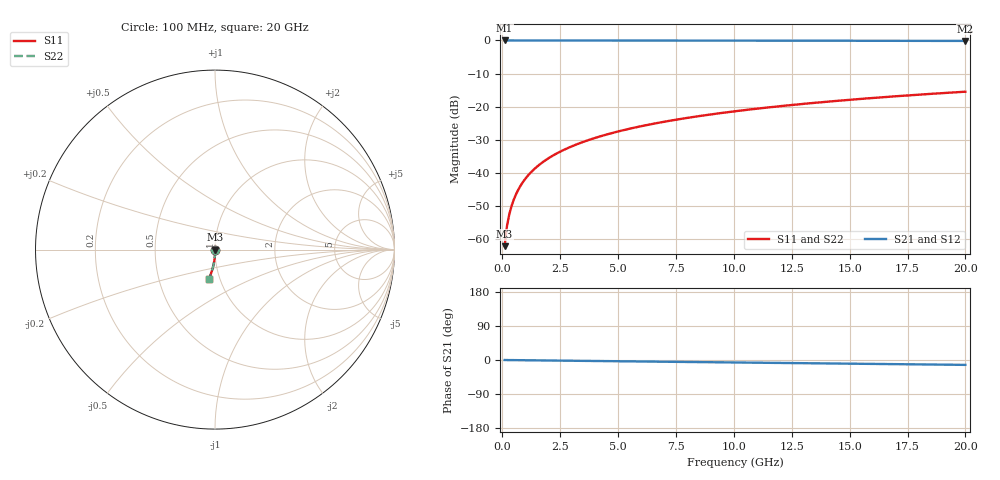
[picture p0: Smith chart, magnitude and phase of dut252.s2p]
! Touchstone file exported from HFSS 2026.1.0
!  File:  C:/ffzhzh/LocalFiles/Ansys_Project_Files/temp_train_TSV_252_1782992880_41620.aedt
!  Generated:  07:49:23 PM Jul  2, 2026
!  Design:  TSV
!  Project:  temp_train_TSV_252_1782992880_41620
! Variables:
!  h_bsmrdl = 2um
!  h_ox = 20um
!  h_rdl = 5um
!  h_sub = 91.99um
!  h_tmrdl = 5um
!  h_tsv = 91.99um
!  h_via = 3um
!  l_bsmrdl = 300um
!  l_sub = 421.72um
!  l_tmrdl = 200um
!  m_sub = 200um
!  pitch = 24.23um
!  r_tsv = 10.86um
!  s_tmrdl = 10um
!  w_bsmrdl = 18um
!  w_sub = 500um
!  w_tmrdl = 12um
!  x_tsv_center1 = 206um
!  x_tsv_center2 = 524um
!  x_tsv_center3 = 736um
!  x_tsv_center4 = 1054um
!  x_tsv_center5 = 1266um
!  x_tsv_center6 = 1584um
# GHz S MA R 50.000000
! Terminal data exported
! Port[1] = TSV1_1_T1
! Port[2] = TSV1_1_T2
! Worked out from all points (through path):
!   200 points, 100 MHz to 20 GHz, reference 50 ohm
!   highest |S21| = 0.00 dB at 100 MHz (marker M1); lowest = -0.1 dB at 20 GHz (marker M2)
!   group delay of S21, straight-line fit = 1.79 ps
!   lowest |S11| = -62.1 dB at 100 MHz (marker M3), VSWR 1.00, Z = 50 - j0.0774 ohm
!   |S11| at or under -10 dB: start of sweep to end of sweep
!   |S22| runs from -62.1 to -15.5 dB; largest |S21 - S12| = 2.1e-15
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0.1  0.000789 -78.9  0.9998 -0.1  0.9998 -0.1  0.000789 -78.9
! Gamma 0 0 0 0
! Port Impedance 50 0 50 0
0.2  0.001568 -83.4  0.9998 -0.1  0.9998 -0.1  0.001568 -83.4
0.3  0.002366 -84.7  0.9998 -0.2  0.9998 -0.2  0.002366 -84.7
0.4  0.00318 -85.3  0.9997 -0.3  0.9997 -0.3  0.00318 -85.3
0.5  0.004008 -85.8  0.9997 -0.3  0.9997 -0.3  0.004008 -85.8
0.7  0.005689 -86.4  0.9996 -0.5  0.9996 -0.5  0.005689 -86.4
0.8  0.006538 -86.7  0.9995 -0.5  0.9995 -0.5  0.006538 -86.7
1  0.00824 -87.2  0.9995 -0.7  0.9995 -0.7  0.00824 -87.2
1.2  0.009946 -87.7  0.9994 -0.8  0.9994 -0.8  0.009946 -87.7
1.4  0.01165 -88.1  0.9994 -0.9  0.9994 -0.9  0.01165 -88.1
1.7  0.01421 -88.6  0.9993 -1.1  0.9993 -1.1  0.01421 -88.6
2  0.01677 -89.1  0.9992 -1.3  0.9992 -1.3  0.01677 -89.1
2.7  0.02273 -89.9  0.999 -1.8  0.999 -1.8  0.02273 -89.9
3.5  0.02955 -90.6  0.9987 -2.3  0.9987 -2.3  0.02955 -90.6
4.2  0.03553 -91.2  0.9984 -2.8  0.9984 -2.8  0.03553 -91.2
5  0.04237 -91.9  0.998 -3.3  0.998 -3.3  0.04237 -91.9
6.8  0.05777 -93.2  0.9971 -4.4  0.9971 -4.4  0.05777 -93.2
8.3  0.07059 -94.3  0.9961 -5.4  0.9961 -5.4  0.07059 -94.3
10.1  0.08593 -95.5  0.9947 -6.6  0.9947 -6.6  0.08593 -95.5
13.4  0.1139 -97.8  0.9917 -8.7  0.9917 -8.7  0.1139 -97.8
16.7  0.1415 -100.0  0.9879 -10.8  0.9879 -10.8  0.1415 -100.0
20  0.1687 -102.1  0.9834 -12.9  0.9834 -12.9  0.1687 -102.1
